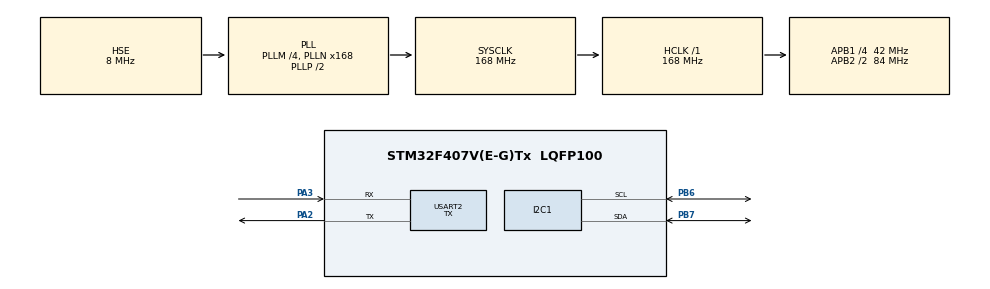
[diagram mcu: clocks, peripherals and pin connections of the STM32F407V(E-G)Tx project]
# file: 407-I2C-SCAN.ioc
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I2C1.I2C_Mode=I2C_Standard
Mcu.Family=STM32F4
Mcu.Name=STM32F407V(E-G)Tx
Mcu.Package=LQFP100
NVIC.PriorityGroup=NVIC_PRIORITYGROUP_4
PA2.Mode=Asynchronous
PA2.Signal=USART2_TX
PA3.Mode=Asynchronous
PA3.Signal=USART2_RX
PB6.GPIO_Pu=GPIO_NOPULL
PB6.GPIO_Speed=GPIO_SPEED_FREQ_VERY_HIGH
PB6.Mode=I2C
PB6.Signal=I2C1_SCL
PB7.GPIO_Mode=GPIO_MODE_AF_OD
PB7.GPIO_Pu=GPIO_NOPULL
PB7.GPIO_Speed=GPIO_SPEED_FREQ_VERY_HIGH
PB7.Mode=I2C
PB7.Signal=I2C1_SDA
PH0-OSC_IN.Mode=HSE-External-Oscillator
PH0-OSC_IN.Signal=RCC_OSC_IN
PH1-OSC_OUT.Mode=HSE-External-Oscillator
PH1-OSC_OUT.Signal=RCC_OSC_OUT
ProjectManager.HeapSize=0x200
ProjectManager.StackSize=0x400
ProjectManager.TargetToolchain=STM32CubeIDE
RCC.48MHZClocksFreq_Value=84000000
RCC.AHBFreq_Value=168000000
RCC.APB1CLKDivider=RCC_HCLK_DIV4
RCC.APB1Freq_Value=42000000
RCC.APB1TimFreq_Value=84000000
RCC.APB2CLKDivider=RCC_HCLK_DIV2
RCC.APB2Freq_Value=84000000
RCC.APB2TimFreq_Value=168000000
RCC.CortexFreq_Value=168000000
RCC.HCLKFreq_Value=168000000
RCC.HSE_VALUE=8000000
RCC.HSI_VALUE=16000000
RCC.LSE_VALUE=32768
RCC.PLLM=4
RCC.PLLN=168
RCC.PLLSourceVirtual=RCC_PLLSOURCE_HSE
RCC.SYSCLKFreq_VALUE=168000000
RCC.SYSCLKSource=RCC_SYSCLKSOURCE_PLLCLK
RCC.VCOOutputFreq_Value=336000000
USART2.Mode=MODE_TX
USART2.VirtualMode=VM_ASYNC
board=custom

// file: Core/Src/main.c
/* USER CODE BEGIN Header */
/**
  ******************************************************************************
  * @file           : main.c
  * @brief          : Main program body
  ******************************************************************************
  * @attention
  *
  * Copyright (c) 2022 STMicroelectronics.
  * All rights reserved.
  *
  * This software is licensed under terms that can be found in the LICENSE file
  * in the root directory of this software component.
  * If no LICENSE file comes with this software, it is provided AS-IS.
  *
  ******************************************************************************
  */
// https://forum.digikey.com/t/easily-use-printf-on-stm32/20157
// https://github.com/ProjectsByJRP/stm32_hal_i2c_bus_scan
//
/* USER CODE END Header */
#include "main.h"

/* USER CODE BEGIN Includes */
#include "stdio.h"

/* USER CODE END Includes */

I2C_HandleTypeDef hi2c1;

UART_HandleTypeDef huart2;

void SystemClock_Config(void);
static void MX_GPIO_Init(void);
static void MX_I2C1_Init(void);
static void MX_USART2_UART_Init(void);
/* USER CODE BEGIN PFP */
/* Direct printf to output somewhere */
#ifdef __GNUC__
#define PUTCHAR_PROTOTYPE int __io_putchar(int ch)
#else
#define PUTCHAR_PROTOTYPE int fputc(int ch, FILE *f)
#endif /* __GNUC__ */

PUTCHAR_PROTOTYPE
{
  HAL_UART_Transmit(&huart2, (uint8_t *)&ch, 1, HAL_MAX_DELAY);
  return ch;
}
/* USER CODE END PFP */

int main(void)
{

  /* MCU Configuration--------------------------------------------------------*/

  /* Reset of all peripherals, Initializes the Flash interface and the Systick. */
  HAL_Init();

  /* Configure the system clock */
  SystemClock_Config();

  /* Initialize all configured peripherals */
  MX_GPIO_Init();
  MX_I2C1_Init();
  MX_USART2_UART_Init();
  /* USER CODE BEGIN 2 */
  char uart2Data[24] = "Connected to UART Two\r\n";
     /*
      * Output to uart2
      * use screen or putty or whatever terminal software
      * 8N1 115200
      */
     HAL_UART_Transmit(&huart2, (uint8_t *)&uart2Data,sizeof(uart2Data), 0xFFFF);

   	printf("\r\n");

   	printf("Scanning I2C bus:\r\n");
  	HAL_StatusTypeDef result;
   	uint8_t i;
   	for (i=1; i<128; i++)
   	{
   	  /*
   	   * the HAL wants a left aligned i2c address
   	   * &hi2c1 is the handle
   	   * (uint16_t)(i<<1) is the i2c address left aligned
   	   * retries 2
   	   * timeout 2
   	   */
   	  result = HAL_I2C_IsDeviceReady(&hi2c1, (uint16_t)(i<<1), 2, 2);
   	  if (result != HAL_OK) // HAL_ERROR or HAL_BUSY or HAL_TIMEOUT
   	  {
   		  printf("."); // No ACK received at that address
   	  }
   	  if (result == HAL_OK)
   	  {
   		  printf("0x%X", i); // Received an ACK at that address
   	  }
   	}
   	printf("\r\n");

  /* USER CODE END 2 */

  /* Infinite loop */
  /* USER CODE BEGIN WHILE */

     /*--[ Scanning Done ]--*/

  while (1)
  {
    /* USER CODE END WHILE */

  }
}

void SystemClock_Config(void)
{
  RCC_OscInitTypeDef RCC_OscInitStruct = {0};
  RCC_ClkInitTypeDef RCC_ClkInitStruct = {0};

  /** Configure the main internal regulator output voltage
  */
  __HAL_RCC_PWR_CLK_ENABLE();
  __HAL_PWR_VOLTAGESCALING_CONFIG(PWR_REGULATOR_VOLTAGE_SCALE1);

  /** Initializes the RCC Oscillators according to the specified parameters
  * in the RCC_OscInitTypeDef structure.
  */
  RCC_OscInitStruct.OscillatorType = RCC_OSCILLATORTYPE_HSE;
  RCC_OscInitStruct.HSEState = RCC_HSE_ON;
  RCC_OscInitStruct.PLL.PLLState = RCC_PLL_ON;
  RCC_OscInitStruct.PLL.PLLSource = RCC_PLLSOURCE_HSE;
  RCC_OscInitStruct.PLL.PLLM = 4;
  RCC_OscInitStruct.PLL.PLLN = 168;
  RCC_OscInitStruct.PLL.PLLP = RCC_PLLP_DIV2;
  RCC_OscInitStruct.PLL.PLLQ = 4;
  if (HAL_RCC_OscConfig(&RCC_OscInitStruct) != HAL_OK)
  {
    Error_Handler();
  }

  /** Initializes the CPU, AHB and APB buses clocks
  */
  RCC_ClkInitStruct.ClockType = RCC_CLOCKTYPE_HCLK|RCC_CLOCKTYPE_SYSCLK
                              |RCC_CLOCKTYPE_PCLK1|RCC_CLOCKTYPE_PCLK2;
  RCC_ClkInitStruct.SYSCLKSource = RCC_SYSCLKSOURCE_PLLCLK;
  RCC_ClkInitStruct.AHBCLKDivider = RCC_SYSCLK_DIV1;
  RCC_ClkInitStruct.APB1CLKDivider = RCC_HCLK_DIV4;
  RCC_ClkInitStruct.APB2CLKDivider = RCC_HCLK_DIV2;

  if (HAL_RCC_ClockConfig(&RCC_ClkInitStruct, FLASH_LATENCY_5) != HAL_OK)
  {
    Error_Handler();
  }
}

static void MX_I2C1_Init(void)
{

  hi2c1.Instance = I2C1;
  hi2c1.Init.ClockSpeed = 100000;
  hi2c1.Init.DutyCycle = I2C_DUTYCYCLE_2;
  hi2c1.Init.OwnAddress1 = 0;
  hi2c1.Init.AddressingMode = I2C_ADDRESSINGMODE_7BIT;
  hi2c1.Init.DualAddressMode = I2C_DUALADDRESS_DISABLE;
  hi2c1.Init.OwnAddress2 = 0;
  hi2c1.Init.GeneralCallMode = I2C_GENERALCALL_DISABLE;
  hi2c1.Init.NoStretchMode = I2C_NOSTRETCH_DISABLE;
  if (HAL_I2C_Init(&hi2c1) != HAL_OK)
  {
    Error_Handler();
  }

}

static void MX_USART2_UART_Init(void)
{

  huart2.Instance = USART2;
  huart2.Init.BaudRate = 115200;
  huart2.Init.WordLength = UART_WORDLENGTH_8B;
  huart2.Init.StopBits = UART_STOPBITS_1;
  huart2.Init.Parity = UART_PARITY_NONE;
  huart2.Init.Mode = UART_MODE_TX;
  huart2.Init.HwFlowCtl = UART_HWCONTROL_NONE;
  huart2.Init.OverSampling = UART_OVERSAMPLING_16;
  if (HAL_UART_Init(&huart2) != HAL_OK)
  {
    Error_Handler();
  }

}

static void MX_GPIO_Init(void)
{

  /* GPIO Ports Clock Enable */
  __HAL_RCC_GPIOH_CLK_ENABLE();
  __HAL_RCC_GPIOA_CLK_ENABLE();
  __HAL_RCC_GPIOB_CLK_ENABLE();

}

void Error_Handler(void)
{
  __disable_irq();
  while (1)
  {
  }
}
